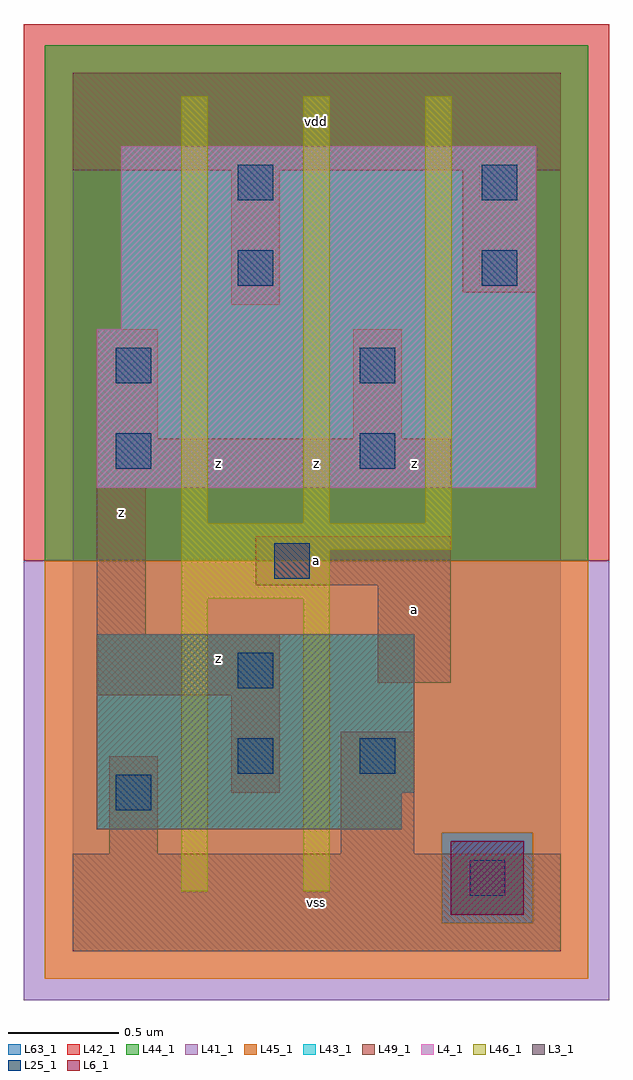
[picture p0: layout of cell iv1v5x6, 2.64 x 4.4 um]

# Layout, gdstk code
import gdstk
lib = gdstk.Library(unit=1e-6, precision=1e-09)
def R(c, l, rs):  # rectangles x0, y0, x1, y1
    for r in rs: c.add(gdstk.rectangle(r[:2], r[2:], *l))
def A(c, l, x, y, w, h, nx, ny, dx, dy):  # array of equal rectangles
    R(c, l, [(x+i*dx, y+j*dy, x+i*dx+w, y+j*dy+h) for i in range(nx) for j in range(ny)])
L3_1 = (3, 1)
L4_1 = (4, 1)
L6_1 = (6, 1)
L25_1 = (25, 1)
L41_1 = (41, 1)
L42_1 = (42, 1)
L43_1 = (43, 1)
L44_1 = (44, 1)
L45_1 = (45, 1)
L46_1 = (46, 1)
L49_1 = (49, 1)
L63_1 = (63, 1)

iv1v5x6 = lib.new_cell('iv1v5x6')
R(iv1v5x6, L3_1, [(0.11,0.55,1.485,0.715), (0.11,0.715,1.54,1.43)])
R(iv1v5x6, L4_1, [(0.11,2.09,2.09,2.805), (0.22,2.805,2.09,3.63)])
R(iv1v5x6, L6_1, [(1.705,0.165,2.035,0.495)])
R(iv1v5x6, L25_1, [(1.79,0.25,1.95,0.41), (0.195,0.635,0.355,0.795), (0.745,0.8,0.905,0.96), (1.295,0.8,1.455,0.96), (0.745,1.185,0.905,1.345), (0.91,1.68,1.07,1.84), (0.195,2.175,0.355,2.335), (1.295,2.175,1.455,2.335), (0.195,2.56,0.355,2.72), (1.295,2.56,1.455,2.72), (0.745,3,0.905,3.16), (1.845,3,2.005,3.16), (0.745,3.385,0.905,3.545), (1.845,3.385,2.005,3.545)])
R(iv1v5x6, L41_1, [(-0.22,-0.22,2.42,1.76)])
R(iv1v5x6, L42_1, [(-0.22,1.76,2.42,4.18)])
R(iv1v5x6, L43_1, [(1.705,0.165,2.035,0.495), (0.11,0.55,1.485,0.715), (0.11,0.715,1.54,1.43), (0.11,2.09,2.09,2.805), (0.22,2.805,2.09,3.63)])
R(iv1v5x6, L44_1, [(1.665,0.125,2.075,0.535), (-0.125,1.76,2.325,4.085)])
R(iv1v5x6, L45_1, [(-0.125,-0.125,2.325,0.125), (-0.125,0.125,1.665,0.535), (2.075,0.125,2.325,0.535), (-0.125,0.535,2.325,1.76)])
A(iv1v5x6, L46_1, 0.49, 1.93, 0.12, 1.925, 3, 1, 0.55, 0)
R(iv1v5x6, L46_1, [(0.49,0.27,0.61,1.59), (1.04,0.27,1.16,1.59), (0.49,1.59,1.16,1.81), (0.49,1.81,1.71,1.93)])
R(iv1v5x6, L49_1, [(0,0,2.2,0.44), (0.165,0.44,0.385,0.88), (1.21,0.44,1.54,0.99), (0.715,0.715,0.935,1.155), (0.11,1.155,0.935,1.43), (1.375,1.21,1.705,1.65), (0.11,1.43,0.33,2.09), (0.825,1.65,1.705,1.87), (0.11,2.09,1.705,2.31), (0.11,2.31,0.385,2.805), (1.265,2.31,1.485,2.805), (0.715,2.915,0.935,3.52), (1.76,2.97,2.09,3.52), (0,3.52,2.2,3.96)])
R(iv1v5x6, L63_1, [(0,0,2.2,3.96)])
iv1v5x6.add(gdstk.Label('z', (0.22,1.98), layer=49, texttype=1))
iv1v5x6.add(gdstk.Label('z', (0.66,1.32), layer=49, texttype=1))
iv1v5x6.add(gdstk.Label('z', (0.66,2.2), layer=49, texttype=1))
iv1v5x6.add(gdstk.Label('vss', (1.1,0.22), layer=49, texttype=1))
iv1v5x6.add(gdstk.Label('a', (1.1,1.76), layer=49, texttype=1))
iv1v5x6.add(gdstk.Label('a', (1.54,1.54), layer=49, texttype=1))
iv1v5x6.add(gdstk.Label('z', (1.54,2.2), layer=49, texttype=1))
iv1v5x6.add(gdstk.Label('z', (1.1,2.2), layer=49, texttype=1))
iv1v5x6.add(gdstk.Label('vdd', (1.1,3.74), layer=49, texttype=1))

lib.write_gds('iv1v5x6.gds')
